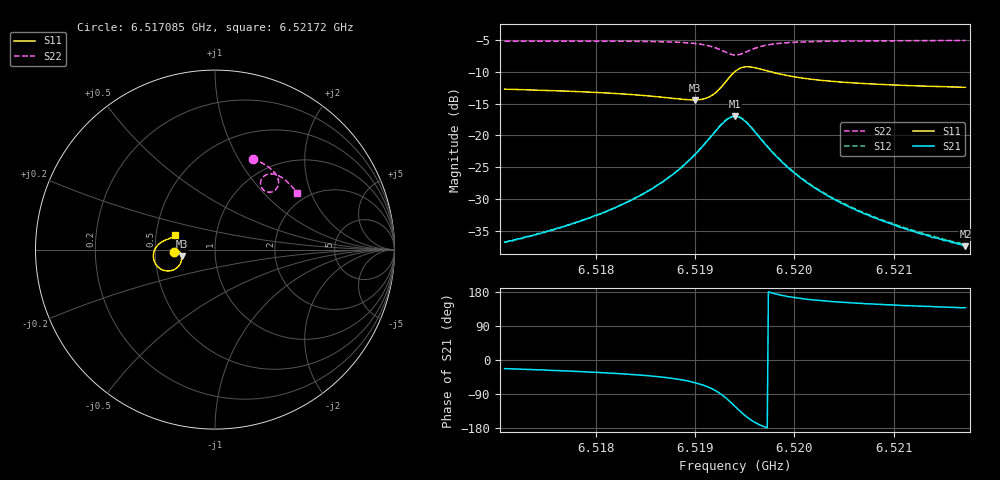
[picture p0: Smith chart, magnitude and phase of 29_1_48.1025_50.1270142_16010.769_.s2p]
#  HZ  S  RI  R  50.00
! Rohde & Schwarz Vector Network Analyzer
! Rohde-Schwarz,ZNB20-2Port,1311601062101988,3.16
! Created: UTC 12/23/2023, 3:37:28 AM
! freq[Hz]  re:S11  im:S11  re:S21  im:S21  re:S12  im:S12  re:S22  im:S22
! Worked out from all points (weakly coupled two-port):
!   401 points, 6.517085 GHz to 6.52172 GHz, reference 50 ohm
!   highest |S21| = -17.02 dB at 6.519402 GHz (marker M1); lowest = -37.4 dB at 6.52172 GHz (marker M2)
!   lowest |S11| = -14.4 dB at 6.518997 GHz (marker M3), VSWR 1.47, Z = 34.2 - j2.59 ohm
!   |S11| at or under -10 dB: start of sweep to 6.519401 GHz; 6.519756 GHz to end of sweep
!   |S22| runs from -7.4 to -5.1 dB; largest |S21 - S12| = 0.0042
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6.5170852e9  -0.2301 -0.0153  0.0134 -0.00565  0.0135 -0.00508  0.21 0.5069
6.5175139e9  -0.2251 -0.00925  0.0158 -0.00794  0.016 -0.00739  0.2417 0.493
6.5178615e9  -0.2201 -0.00548  0.0184 -0.0108  0.0189 -0.0105  0.2672 0.4795
6.518267e9  -0.2117 -0.00381  0.0231 -0.0171  0.0236 -0.0163  0.2979 0.4601
6.5184639e9  -0.2063 -0.00522  0.0262 -0.022  0.0269 -0.0213  0.3129 0.4482
6.5186377e9  -0.2003 -0.00884  0.0296 -0.0289  0.0305 -0.028  0.3265 0.4352
6.5188463e9  -0.1919 -0.0197  0.0339 -0.0427  0.0356 -0.0419  0.3426 0.4144
6.5189969e9  -0.1863 -0.0364  0.0356 -0.0606  0.0376 -0.0598  0.3521 0.392
6.5191012e9  -0.1863 -0.0565  0.0321 -0.0799  0.0348 -0.0795  0.3542 0.3705
6.5191823e9  -0.1936 -0.0785  0.0222 -0.0998  0.0254 -0.1  0.3488 0.3498
6.5193097e9  -0.2377 -0.1154  -0.0227 -0.1289  -0.019 -0.1306  0.3143 0.3211
6.5194024e9  -0.297 -0.1111  -0.0754 -0.1191  -0.0727 -0.1222  0.2732 0.3293
6.5194488e9  -0.3223 -0.092  -0.0962 -0.0995  -0.0941 -0.1029  0.259 0.346
6.5195067e9  -0.3402 -0.0596  -0.1083 -0.0695  -0.1071 -0.0729  0.2532 0.3711
6.519611e9  -0.3387 -0.00837  -0.1016 -0.0256  -0.1017 -0.0287  0.2682 0.4048
6.5197037e9  -0.3238 0.019  -0.0856 -0.00449  -0.0863 -0.00707  0.2891 0.4182
6.5199354e9  -0.2904 0.0462  -0.0544 0.0122  -0.0554 0.0107  0.3308 0.42
6.5201787e9  -0.2697 0.0556  -0.0372 0.0144  -0.0381 0.0135  0.3596 0.4088
6.5205263e9  -0.2528 0.0622  -0.0246 0.0133  -0.0254 0.0129  0.389 0.389
6.520955e9  -0.2402 0.0683  -0.017 0.0116  -0.0174 0.0112  0.417 0.3635
6.5213141e9  -0.2323 0.0734  -0.013 0.0104  -0.0135 0.01  0.4371 0.3417
6.5217196e9  -0.2252 0.0788  -0.01 0.00904  -0.0105 0.00909  0.4573 0.3165
